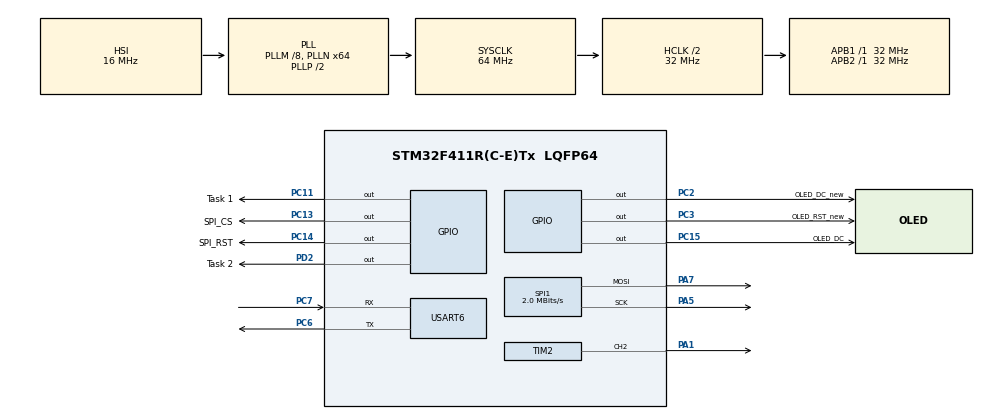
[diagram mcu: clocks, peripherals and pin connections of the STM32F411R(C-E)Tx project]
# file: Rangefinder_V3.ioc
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Dma.Request0=USART6_RX
Dma.USART6_RX.0.Direction=DMA_PERIPH_TO_MEMORY
Dma.USART6_RX.0.FIFOMode=DMA_FIFOMODE_DISABLE
Dma.USART6_RX.0.Instance=DMA2_Stream1
Dma.USART6_RX.0.MemDataAlignment=DMA_MDATAALIGN_BYTE
Dma.USART6_RX.0.MemInc=DMA_MINC_ENABLE
Dma.USART6_RX.0.Mode=DMA_CIRCULAR
Dma.USART6_RX.0.PeriphDataAlignment=DMA_PDATAALIGN_BYTE
Dma.USART6_RX.0.PeriphInc=DMA_PINC_DISABLE
Dma.USART6_RX.0.Priority=DMA_PRIORITY_LOW
FREERTOS.Tasks01=LidarTask,11,256,StartLidarTask,Default,NULL,Dynamic,NULL,NULL;OledTask,10,128,StartOledTask,Default,NULL,Dynamic,NULL,NULL;GraphTask,9,128,StartGraphTask,Default,NULL,Dynamic,NULL,NULL
FREERTOS.configENABLE_FPU=1
FREERTOS.configUSE_COUNTING_SEMAPHORES=1
FREERTOS.configUSE_NEWLIB_REENTRANT=1
Mcu.Family=STM32F4
Mcu.Name=STM32F411R(C-E)Tx
Mcu.Package=LQFP64
NVIC.DMA2_Stream1_IRQn=true\:5\:0\:false\:false\:true\:true\:false\:true\:true
NVIC.FPU_IRQn=true\:5\:0\:false\:false\:true\:true\:true\:false\:true
NVIC.PriorityGroup=NVIC_PRIORITYGROUP_4
NVIC.SPI1_IRQn=true\:5\:0\:true\:false\:true\:true\:true\:true\:true
NVIC.TIM2_IRQn=true\:5\:0\:false\:false\:true\:true\:true\:true\:true
NVIC.TIM5_IRQn=true\:15\:0\:false\:false\:true\:false\:false\:true\:true
NVIC.TimeBase=TIM5_IRQn
NVIC.TimeBaseIP=TIM5
NVIC.USART6_IRQn=true\:5\:0\:true\:false\:true\:true\:true\:true\:true
PA1.Signal=S_TIM2_CH2
PA13.Mode=Serial_Wire
PA13.Signal=SYS_JTMS-SWDIO
PA14.Mode=Serial_Wire
PA14.Signal=SYS_JTCK-SWCLK
PA5.Mode=TX_Only_Simplex_Unidirect_Master
PA5.Signal=SPI1_SCK
PA7.Mode=TX_Only_Simplex_Unidirect_Master
PA7.Signal=SPI1_MOSI
PC11.GPIO_Label=Task 1
PC11.Signal=GPIO_Output
PC13-ANTI_TAMP.GPIO_Label=SPI_CS
PC13-ANTI_TAMP.GPIO_PuPd=GPIO_NOPULL
PC13-ANTI_TAMP.Signal=GPIO_Output
PC14-OSC32_IN.GPIO_Label=SPI_RST
PC14-OSC32_IN.GPIO_ModeDefaultOutputPP=GPIO_MODE_OUTPUT_PP
PC14-OSC32_IN.GPIO_PuPd=GPIO_NOPULL
PC14-OSC32_IN.Signal=GPIO_Output
PC15-OSC32_OUT.GPIO_Label=OLED_DC
PC15-OSC32_OUT.GPIO_ModeDefaultOutputPP=GPIO_MODE_OUTPUT_PP
PC15-OSC32_OUT.GPIO_PuPd=GPIO_NOPULL
PC15-OSC32_OUT.Signal=GPIO_Output
PC2.GPIO_Label=OLED_DC_new
PC2.Signal=GPIO_Output
PC3.GPIO_Label=OLED_RST_new
PC3.Signal=GPIO_Output
PC6.Mode=Asynchronous
PC6.Signal=USART6_TX
PC7.Mode=Asynchronous
PC7.Signal=USART6_RX
PD2.GPIO_Label=Task 2
PD2.Signal=GPIO_Output
ProjectManager.HeapSize=0x200
ProjectManager.StackSize=0x400
ProjectManager.TargetToolchain=STM32CubeIDE
RCC.48MHZClocksFreq_Value=32000000
RCC.AHBCLKDivider=RCC_SYSCLK_DIV2
RCC.AHBFreq_Value=32000000
RCC.APB1Freq_Value=32000000
RCC.APB1TimFreq_Value=32000000
RCC.APB2Freq_Value=32000000
RCC.APB2TimFreq_Value=32000000
RCC.CortexFreq_Value=32000000
RCC.HCLKFreq_Value=32000000
RCC.HSE_VALUE=25000000
RCC.HSI_VALUE=16000000
RCC.LSE_VALUE=32768
RCC.PLLM=8
RCC.PLLN=64
RCC.SYSCLKFreq_VALUE=64000000
RCC.SYSCLKSource=RCC_SYSCLKSOURCE_PLLCLK
RCC.VCOOutputFreq_Value=128000000
SH.S_TIM2_CH2.0=TIM2_CH2,PWM Generation2 CH2
SPI1.BaudRatePrescaler=SPI_BAUDRATEPRESCALER_16
SPI1.CalculateBaudRate=2.0 MBits/s
SPI1.Direction=SPI_DIRECTION_2LINES
SPI1.Mode=SPI_MODE_MASTER
SPI1.VirtualType=VM_MASTER
TIM2.Channel-PWM\ Generation2\ CH2=TIM_CHANNEL_2
TIM2.Period=99
TIM2.Prescaler=3199
USART6.VirtualMode=VM_ASYNC
USART6.WordLength=WORDLENGTH_8B
VP_FREERTOS_VS_CMSIS_V2.Mode=CMSIS_V2
VP_SYS_VS_tim5.Mode=TIM5
board=custom

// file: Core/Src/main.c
/* USER CODE BEGIN Header */
/**
  ******************************************************************************
  * @file           : main.c
  * @brief          : Main program body
  ******************************************************************************
  * @attention
  *
  * Copyright (c) 2023 STMicroelectronics.
  * All rights reserved.
  *
  * This software is licensed under terms that can be found in the LICENSE file
  * in the root directory of this software component.
  * If no LICENSE file comes with this software, it is provided AS-IS.
  *
  ******************************************************************************
  */
/* USER CODE END Header */
#include "main.h"
#include "cmsis_os.h"

/* USER CODE BEGIN Includes */
#include "ssd1306.h"
#include "plot.h"
/* USER CODE END Includes */

/* USER CODE BEGIN PD */
#define UART_buffer_size 9
#define MAX_PLOTTED_VALUES 60
/* USER CODE END PD */

SPI_HandleTypeDef hspi1;

TIM_HandleTypeDef htim2;

UART_HandleTypeDef huart6;
DMA_HandleTypeDef hdma_usart6_rx;

/* Definitions for LidarTask */
osThreadId_t LidarTaskHandle;
const osThreadAttr_t LidarTask_attributes = {
  .name = "LidarTask",
  .stack_size = 256 * 4,
  .priority = (osPriority_t) osPriorityLow3,
};
/* Definitions for OledTask */
osThreadId_t OledTaskHandle;
const osThreadAttr_t OledTask_attributes = {
  .name = "OledTask",
  .stack_size = 128 * 4,
  .priority = (osPriority_t) osPriorityLow2,
};
/* Definitions for GraphTask */
osThreadId_t GraphTaskHandle;
const osThreadAttr_t GraphTask_attributes = {
  .name = "GraphTask",
  .stack_size = 128 * 4,
  .priority = (osPriority_t) osPriorityLow1,
};
/* USER CODE BEGIN PV */
osSemaphoreId_t UART6_Handle;
osSemaphoreId_t Graph_Handle;
osMutexId_t OledLock;
float distance_m = 0;
/* USER CODE END PV */

void SystemClock_Config(void);
static void MX_GPIO_Init(void);
static void MX_DMA_Init(void);
static void MX_SPI1_Init(void);
static void MX_USART6_UART_Init(void);
static void MX_TIM2_Init(void);
void StartLidarTask(void *argument);
void StartOledTask(void *argument);
void StartGraphTask(void *argument);

/* USER CODE BEGIN 0 */
uint8_t UART6_rxBuffer[UART_buffer_size] = {0};
uint8_t received_data[UART_buffer_size];
/* USER CODE END 0 */

int main(void)
{

  /* MCU Configuration--------------------------------------------------------*/

  /* Reset of all peripherals, Initializes the Flash interface and the Systick. */
  HAL_Init();

  /* Configure the system clock */
  SystemClock_Config();

  /* Initialize all configured peripherals */
  MX_GPIO_Init();
  MX_DMA_Init();
  MX_SPI1_Init();
  MX_USART6_UART_Init();
  MX_TIM2_Init();
  /* USER CODE BEGIN 2 */

  // Initialize NVIC Priority group
  // Required for proper priority control between tasks and interrupts
  // See configASSERT in port.c for more info
  NVIC_SetPriorityGrouping(0);

  // Initialize OLED Display
  ssd1306_Init();
  ssd1306_Fill(Black);
  ssd1306_WriteString("Rangefinder V3.0", Font_6x8, White);
  ssd1306_UpdateScreen();

  // Set up PWM for laser
  HAL_TIM_PWM_Start(&htim2, TIM_CHANNEL_2);
  // 50% duty cycle with a prescaled clock freq of 10KHz and period 1ms
  TIM2->CCR2 = 99;

  /* USER CODE END 2 */

  /* Init scheduler */
  osKernelInitialize();

  /* USER CODE BEGIN RTOS_MUTEX */
  // Protects access to Oled screen
  OledLock = osMutexNew(NULL);
  /* USER CODE END RTOS_MUTEX */

  /* USER CODE BEGIN RTOS_SEMAPHORES */
  /* add semaphores, ... */
  Graph_Handle = osSemaphoreNew(1U, 0U, NULL);
  /* USER CODE END RTOS_SEMAPHORES */

  /* Create the thread(s) */
  /* creation of LidarTask */
  LidarTaskHandle = osThreadNew(StartLidarTask, NULL, &LidarTask_attributes);

  /* creation of OledTask */
  OledTaskHandle = osThreadNew(StartOledTask, NULL, &OledTask_attributes);

  /* creation of GraphTask */
  GraphTaskHandle = osThreadNew(StartGraphTask, NULL, &GraphTask_attributes);

  /* Start scheduler */
  osKernelStart();

  /* We should never get here as control is now taken by the scheduler */
  /* Infinite loop */
  while (1)
  {

  }
}

void SystemClock_Config(void)
{
  RCC_OscInitTypeDef RCC_OscInitStruct = {0};
  RCC_ClkInitTypeDef RCC_ClkInitStruct = {0};

  /** Configure the main internal regulator output voltage
  */
  __HAL_RCC_PWR_CLK_ENABLE();
  __HAL_PWR_VOLTAGESCALING_CONFIG(PWR_REGULATOR_VOLTAGE_SCALE1);

  /** Initializes the RCC Oscillators according to the specified parameters
  * in the RCC_OscInitTypeDef structure.
  */
  RCC_OscInitStruct.OscillatorType = RCC_OSCILLATORTYPE_HSI;
  RCC_OscInitStruct.HSIState = RCC_HSI_ON;
  RCC_OscInitStruct.HSICalibrationValue = RCC_HSICALIBRATION_DEFAULT;
  RCC_OscInitStruct.PLL.PLLState = RCC_PLL_ON;
  RCC_OscInitStruct.PLL.PLLSource = RCC_PLLSOURCE_HSI;
  RCC_OscInitStruct.PLL.PLLM = 8;
  RCC_OscInitStruct.PLL.PLLN = 64;
  RCC_OscInitStruct.PLL.PLLP = RCC_PLLP_DIV2;
  RCC_OscInitStruct.PLL.PLLQ = 4;
  if (HAL_RCC_OscConfig(&RCC_OscInitStruct) != HAL_OK)
  {
    Error_Handler();
  }

  /** Initializes the CPU, AHB and APB buses clocks
  */
  RCC_ClkInitStruct.ClockType = RCC_CLOCKTYPE_HCLK|RCC_CLOCKTYPE_SYSCLK
                              |RCC_CLOCKTYPE_PCLK1|RCC_CLOCKTYPE_PCLK2;
  RCC_ClkInitStruct.SYSCLKSource = RCC_SYSCLKSOURCE_PLLCLK;
  RCC_ClkInitStruct.AHBCLKDivider = RCC_SYSCLK_DIV2;
  RCC_ClkInitStruct.APB1CLKDivider = RCC_HCLK_DIV1;
  RCC_ClkInitStruct.APB2CLKDivider = RCC_HCLK_DIV1;

  if (HAL_RCC_ClockConfig(&RCC_ClkInitStruct, FLASH_LATENCY_1) != HAL_OK)
  {
    Error_Handler();
  }
}

static void MX_SPI1_Init(void)
{

  /* SPI1 parameter configuration*/
  hspi1.Instance = SPI1;
  hspi1.Init.Mode = SPI_MODE_MASTER;
  hspi1.Init.Direction = SPI_DIRECTION_2LINES;
  hspi1.Init.DataSize = SPI_DATASIZE_8BIT;
  hspi1.Init.CLKPolarity = SPI_POLARITY_LOW;
  hspi1.Init.CLKPhase = SPI_PHASE_1EDGE;
  hspi1.Init.NSS = SPI_NSS_SOFT;
  hspi1.Init.BaudRatePrescaler = SPI_BAUDRATEPRESCALER_16;
  hspi1.Init.FirstBit = SPI_FIRSTBIT_MSB;
  hspi1.Init.TIMode = SPI_TIMODE_DISABLE;
  hspi1.Init.CRCCalculation = SPI_CRCCALCULATION_DISABLE;
  hspi1.Init.CRCPolynomial = 10;
  if (HAL_SPI_Init(&hspi1) != HAL_OK)
  {
    Error_Handler();
  }

}

static void MX_TIM2_Init(void)
{

  TIM_MasterConfigTypeDef sMasterConfig = {0};
  TIM_OC_InitTypeDef sConfigOC = {0};

  htim2.Instance = TIM2;
  htim2.Init.Prescaler = 3199;
  htim2.Init.CounterMode = TIM_COUNTERMODE_UP;
  htim2.Init.Period = 99;
  htim2.Init.ClockDivision = TIM_CLOCKDIVISION_DIV1;
  htim2.Init.AutoReloadPreload = TIM_AUTORELOAD_PRELOAD_DISABLE;
  if (HAL_TIM_PWM_Init(&htim2) != HAL_OK)
  {
    Error_Handler();
  }
  sMasterConfig.MasterOutputTrigger = TIM_TRGO_RESET;
  sMasterConfig.MasterSlaveMode = TIM_MASTERSLAVEMODE_DISABLE;
  if (HAL_TIMEx_MasterConfigSynchronization(&htim2, &sMasterConfig) != HAL_OK)
  {
    Error_Handler();
  }
  sConfigOC.OCMode = TIM_OCMODE_PWM1;
  sConfigOC.Pulse = 0;
  sConfigOC.OCPolarity = TIM_OCPOLARITY_HIGH;
  sConfigOC.OCFastMode = TIM_OCFAST_DISABLE;
  if (HAL_TIM_PWM_ConfigChannel(&htim2, &sConfigOC, TIM_CHANNEL_2) != HAL_OK)
  {
    Error_Handler();
  }
  HAL_TIM_MspPostInit(&htim2);

}

static void MX_USART6_UART_Init(void)
{

  huart6.Instance = USART6;
  huart6.Init.BaudRate = 115200;
  huart6.Init.WordLength = UART_WORDLENGTH_8B;
  huart6.Init.StopBits = UART_STOPBITS_1;
  huart6.Init.Parity = UART_PARITY_NONE;
  huart6.Init.Mode = UART_MODE_TX_RX;
  huart6.Init.HwFlowCtl = UART_HWCONTROL_NONE;
  huart6.Init.OverSampling = UART_OVERSAMPLING_16;
  if (HAL_UART_Init(&huart6) != HAL_OK)
  {
    Error_Handler();
  }

}

static void MX_DMA_Init(void)
{

  /* DMA controller clock enable */
  __HAL_RCC_DMA2_CLK_ENABLE();

  /* DMA interrupt init */
  /* DMA2_Stream1_IRQn interrupt configuration */
  HAL_NVIC_SetPriority(DMA2_Stream1_IRQn, 5, 0);
  HAL_NVIC_EnableIRQ(DMA2_Stream1_IRQn);

}

static void MX_GPIO_Init(void)
{
  GPIO_InitTypeDef GPIO_InitStruct = {0};

  /* GPIO Ports Clock Enable */
  __HAL_RCC_GPIOC_CLK_ENABLE();
  __HAL_RCC_GPIOA_CLK_ENABLE();
  __HAL_RCC_GPIOD_CLK_ENABLE();

  /*Configure GPIO pin Output Level */
  HAL_GPIO_WritePin(GPIOC, SPI_CS_Pin|SPI_RST_Pin|OLED_DC_Pin|OLED_DC_new_Pin
                          |OLED_RST_new_Pin|Task_1_Pin, GPIO_PIN_RESET);

  /*Configure GPIO pin Output Level */
  HAL_GPIO_WritePin(Task_2_GPIO_Port, Task_2_Pin, GPIO_PIN_RESET);

  /*Configure GPIO pins : SPI_CS_Pin SPI_RST_Pin OLED_DC_Pin OLED_DC_new_Pin
                           OLED_RST_new_Pin Task_1_Pin */
  GPIO_InitStruct.Pin = SPI_CS_Pin|SPI_RST_Pin|OLED_DC_Pin|OLED_DC_new_Pin
                          |OLED_RST_new_Pin|Task_1_Pin;
  GPIO_InitStruct.Mode = GPIO_MODE_OUTPUT_PP;
  GPIO_InitStruct.Pull = GPIO_NOPULL;
  GPIO_InitStruct.Speed = GPIO_SPEED_FREQ_LOW;
  HAL_GPIO_Init(GPIOC, &GPIO_InitStruct);

  /*Configure GPIO pin : Task_2_Pin */
  GPIO_InitStruct.Pin = Task_2_Pin;
  GPIO_InitStruct.Mode = GPIO_MODE_OUTPUT_PP;
  GPIO_InitStruct.Pull = GPIO_NOPULL;
  GPIO_InitStruct.Speed = GPIO_SPEED_FREQ_LOW;
  HAL_GPIO_Init(Task_2_GPIO_Port, &GPIO_InitStruct);

}

void StartLidarTask(void *argument)
{
  /* USER CODE BEGIN 5 */

  TickType_t xLastWakeTime;
  // How often to run, ie. every 10 ms
  const TickType_t xFrequency = 100;
  xLastWakeTime = xTaskGetTickCount();

  // Create binary semaphore
  UART6_Handle = osSemaphoreNew(1U, 0U, NULL);

  // Start DMA
  HAL_UART_Receive_DMA(&huart6, UART6_rxBuffer, UART_buffer_size);

  // Lidar Data
  uint16_t distance = 0;
  // Distance value unreliable when strength = 0xFFFF or < 140 as 14 <-?
  uint16_t strength = 0;
  uint16_t MAX_DISTANCE_M = 9.0;

  /* Infinite loop */
  for(;;)
  {
	vTaskDelayUntil(&xLastWakeTime, xFrequency);

	// Wait for semaphore from ISR
	osStatus_t acq_ret = osSemaphoreAcquire(UART6_Handle, osWaitForever);
	if(acq_ret == osOK){

		// Verify and read Lidar data
		if(processData(8, &distance, &strength)){
			distance_m = (distance / 100.0);
			distance_m = distance_m > MAX_DISTANCE_M ? 8.0 : distance_m;
			char data[8];
			int retVal = snprintf(data, sizeof(data), "%.2f m", distance_m);

			if(retVal > 0 && retVal <= sizeof(data)){
				osMutexAcquire(OledLock, osWaitForever);
				// write data to OLED
				ssd1306_SetCursor(32, 14);
				ssd1306_WriteString(data, Font_11x18, White);
				osMutexRelease(OledLock);

				// Allow graph drawing
				osStatus_t ret = osSemaphoreRelease(Graph_Handle);
			}
		}
	}
	else{
		// Failed to acquire semaphore in time.
	}
  }
  /* USER CODE END 5 */
}

void StartOledTask(void *argument)
{
  /* USER CODE BEGIN StartOledTask */
  TickType_t xLastWakeTime;
  // How often to run, ie. every 10 ms
  const TickType_t xFrequency = 100;
  xLastWakeTime = xTaskGetTickCount();

  /* Infinite loop */
  for(;;)
  {
	vTaskDelayUntil(&xLastWakeTime, xFrequency);

	osMutexAcquire(OledLock, osWaitForever);
	ssd1306_UpdateScreen();
	osMutexRelease(OledLock);
  }
  /* USER CODE END StartOledTask */
}

void StartGraphTask(void *argument)
{
  /* USER CODE BEGIN StartGraphTask */
  TickType_t xLastWakeTime;
  // How often to run, ie. every 10 ms
  const TickType_t xFrequency = 100;
  xLastWakeTime = xTaskGetTickCount();

  // Create buffer and plot
  uint8_t distances_buffer[MAX_PLOTTED_VALUES] = {0};
  buffer_t buf = {distances_buffer, 0, 0, 60};
  // Define a box to hold our plot
  // (34, 62) origin, 24 x 60 (row x col) pixels
  plot_t plot = {34, 60, 60, 24};

  draw_axes(&plot);

  // can't start semaphore here
//  Graph_Handle = osSemaphoreNew(1U, 0U, NULL);

  /* Infinite loop */
  for(;;)
  {
	    vTaskDelayUntil(&xLastWakeTime, xFrequency);

		osSemaphoreAcquire(Graph_Handle, osWaitForever);
		// Get new data in when it's available
		// If full, pop value and try again
		if(pushback(&buf, float_to_pixel(distance_m)) == 0){
//			clear_graph(&plot);
			pop(&buf);
			pushback(&buf, float_to_pixel(distance_m));
		}

//		osMutexAcquire(OledLock, osWaitForever);
		calculate_graph(&buf, &plot);
//		osMutexRelease(OledLock);
  }
  /* USER CODE END StartGraphTask */
}

void HAL_TIM_PeriodElapsedCallback(TIM_HandleTypeDef *htim)
{
  if (htim->Instance == TIM5) {
    HAL_IncTick();
  }
}

void Error_Handler(void)
{
  __disable_irq();
  while (1)
  {
  }
}
